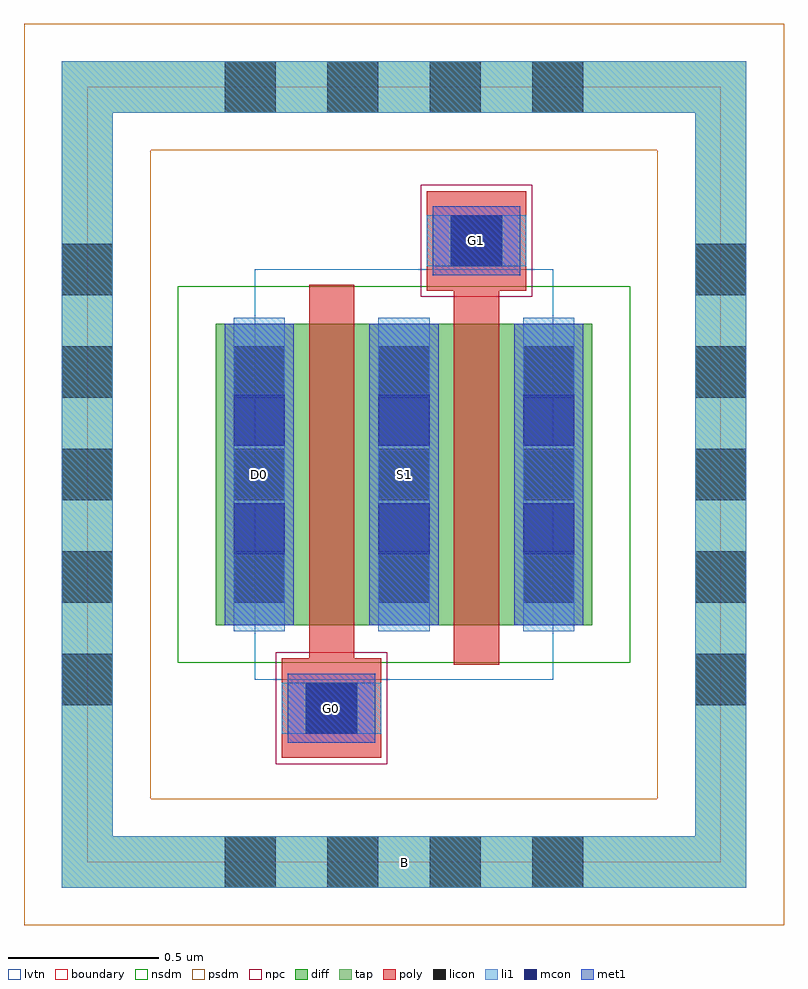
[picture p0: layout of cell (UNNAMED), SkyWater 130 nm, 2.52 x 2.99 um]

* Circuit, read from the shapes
.subckt (UNNAMED) B D0 G0 G1 S1
XM1 S1 G0 D0 B sky130_fd_pr__nfet_01v8_lvt w=1 l=0.15
XM2 n1 G1 S1 B sky130_fd_pr__nfet_01v8_lvt w=1 l=0.15
.ends

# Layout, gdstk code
import gdstk
lib = gdstk.Library(unit=1e-6, precision=1e-09)
def R(c, l, rs):  # rectangles x0, y0, x1, y1
    for r in rs: c.add(gdstk.rectangle(r[:2], r[2:], *l))
def A(c, l, x, y, w, h, nx, ny, dx, dy):  # array of equal rectangles
    R(c, l, [(x+i*dx, y+j*dy, x+i*dx+w, y+j*dy+h) for i in range(nx) for j in range(ny)])
diff = (65, 20)
tap = (65, 44)
poly = (66, 20)
licon = (66, 44)
li1 = (67, 20)
mcon = (67, 44)
met1 = (68, 20)
nsdm = (93, 44)
psdm = (94, 20)
npc = (95, 20)
lvtn = (125, 44)
boundary = (235, 4)

c__unnamed_ = lib.new_cell('(UNNAMED)')
R(c__unnamed_, diff, [(-0.625,-0.5,0.625,0.5)])
R(c__unnamed_, tap, [(-1.135,-1.37,1.135,-1.2), (-1.135,-1.2,-0.965,1.2), (0.965,-1.2,1.135,1.2), (-1.135,1.2,1.135,1.37)])
R(c__unnamed_, poly, [(-0.405,-0.94,-0.075,-0.61), (0.165,-0.63,0.315,0.61), (-0.315,-0.61,-0.165,0.63), (0.075,0.61,0.405,0.94)])
A(c__unnamed_, licon, -0.595, -1.37, 0.17, 0.17, 4, 2, 0.34, 2.57)
A(c__unnamed_, licon, -1.135, -0.765, 0.17, 0.17, 1, 5, 0, 0.34)
A(c__unnamed_, licon, 0.965, -0.765, 0.17, 0.17, 1, 5, 0, 0.34)
A(c__unnamed_, licon, -0.565, -0.425, 0.17, 0.17, 3, 3, 0.48, 0.34)
R(c__unnamed_, licon, [(-0.325,-0.86,-0.155,-0.69), (0.155,0.69,0.325,0.86)])
A(c__unnamed_, li1, -0.565, -0.52, 0.17, 1.04, 3, 1, 0.48, 0)
R(c__unnamed_, li1, [(-1.135,-1.37,1.135,-1.2), (-1.135,-1.2,-0.965,1.2), (0.965,-1.2,1.135,1.2), (-0.405,-0.86,-0.075,-0.69), (0.075,0.69,0.405,0.86), (-1.135,1.2,1.135,1.37)])
A(c__unnamed_, mcon, -0.565, -0.265, 0.17, 0.17, 3, 2, 0.48, 0.36)
R(c__unnamed_, mcon, [(-0.325,-0.86,-0.155,-0.69), (0.155,0.69,0.325,0.86)])
A(c__unnamed_, met1, -0.595, -0.5, 0.23, 1, 3, 1, 0.48, 0)
R(c__unnamed_, met1, [(-0.385,-0.89,-0.095,-0.66), (0.095,0.66,0.385,0.89)])
R(c__unnamed_, nsdm, [(-0.75,-0.625,0.75,0.625)])
R(c__unnamed_, psdm, [(-1.26,-1.495,1.26,-1.075), (-1.26,-1.075,-0.84,1.075), (0.84,-1.075,1.26,1.075), (-1.26,1.075,1.26,1.495)])
R(c__unnamed_, npc, [(-0.425,-0.96,-0.055,-0.59), (0.055,0.59,0.425,0.96)])
R(c__unnamed_, lvtn, [(-0.495,-0.68,0.495,0.68)])
R(c__unnamed_, boundary, [(-1.05,-1.285,1.05,1.285)])
c__unnamed_.add(gdstk.Label('B', (0,-1.285), layer=67, texttype=5))
c__unnamed_.add(gdstk.Label('D0', (-0.48,0), layer=67, texttype=5))
c__unnamed_.add(gdstk.Label('G0', (-0.24,-0.775), layer=67, texttype=5))
c__unnamed_.add(gdstk.Label('S1', (0,0), layer=67, texttype=5))
c__unnamed_.add(gdstk.Label('G1', (0.24,0.775), layer=67, texttype=5))

lib.write_gds('_UNNAMED_.gds')
